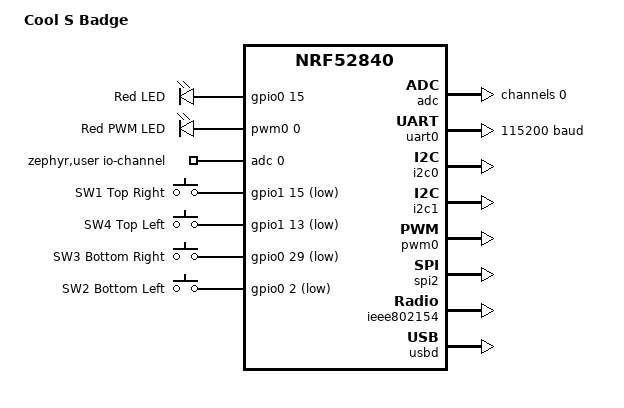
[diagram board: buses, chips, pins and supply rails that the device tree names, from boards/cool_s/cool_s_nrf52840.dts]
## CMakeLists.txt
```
#
# Copyright (c) 2018 Nordic Semiconductor
#
# SPDX-License-Identifier: LicenseRef-Nordic-5-Clause
#
cmake_minimum_required(VERSION 3.20.0)

# Lua for the LED animation scripts, a git submodule:
# git submodule update --init --recursive
list(APPEND ZEPHYR_EXTRA_MODULES ${CMAKE_CURRENT_SOURCE_DIR}/modules/lua_zephyr)

find_package(Zephyr REQUIRED HINTS $ENV{ZEPHYR_BASE})
project(NONE)


# NORDIC SDK APP START
target_sources(app PRIVATE
  src/main.c
  src/lodepng.c
  src/gifdec.c
  src/media_mgmt.c
  src/media_files.c
  src/preview.c
  src/update_approval.c
  src/update_trial.c
  src/lua_anim.c
  src/badge_settings.c
  src/battery.c
  src/nus_console.c
)

# Only decoding is needed, media_files.c writes its PNGs itself and has a
# smaller CRC. Leaves out about 20 KB of the nearly full application slot.
target_compile_definitions(app PRIVATE
  LODEPNG_NO_COMPILE_ENCODER
  LODEPNG_NO_COMPILE_DISK
  LODEPNG_NO_COMPILE_ANCILLARY_CHUNKS
  LODEPNG_NO_COMPILE_CPP
  LODEPNG_NO_COMPILE_CRC
)

# Recursion in C the Lua parser and VM may use, sized for the stack in lua_anim.c
zephyr_compile_definitions(LUAI_MAXCCALLS=32)

# update_approval.c decides whether another image may be scheduled to boot
zephyr_ld_options(-Wl,--wrap=boot_set_next)
target_link_libraries(app PRIVATE MCUBOOT_BOOTUTIL)

# NORDIC SDK APP END
```

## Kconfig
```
#
# Copyright (c) 2018 Nordic Semiconductor
#
# SPDX-License-Identifier: LicenseRef-Nordic-5-Clause
#

source "Kconfig.zephyr"

config BATTERY_LOG
	bool "Log every battery reading to /lfs1/battery.log"
	help
	  For profiling the battery's discharge curve, see src/battery.c.
	  Not for release builds: it writes to flash every reading.

menu "Nordic LED-Button BLE GATT service sample"

config BT_LBS_SECURITY_ENABLED
	bool "Enable security"
	default y
	select BT_SMP
	select BT_SETTINGS
	select FLASH
	select FLASH_PAGE_LAYOUT
	select FLASH_MAP
	select ZMS if (SOC_FLASH_NRF_RRAM || SOC_FLASH_NRF_MRAM)
	select NVS if !(SOC_FLASH_NRF_RRAM || SOC_FLASH_NRF_MRAM)
	select SETTINGS
	help
	  "Enable BLE security for the LED-Button service"

endmenu
```

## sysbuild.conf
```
# Sticking to UF2 for now
SB_CONFIG_BOOTLOADER_MCUBOOT=y
# We are using internal flash for the secondary image
SB_CONFIG_PM_EXTERNAL_FLASH_MCUBOOT_SECONDARY=n
```

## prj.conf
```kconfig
#
# Copyright (c) 2018 Nordic Semiconductor
#
# SPDX-License-Identifier: LicenseRef-Nordic-5-Clause
#
# CONFIG_FLASH_LOAD_OFFSET=0x0

CONFIG_BT=y
CONFIG_BT_PERIPHERAL=y
# CONFIG_BT_DEVICE_NAME="LED_BLE_COOL"
CONFIG_BT_DEVICE_NAME_DYNAMIC=y

# Enable the LBS service
CONFIG_BT_LBS=n
CONFIG_BT_LBS_POLL_BUTTON=n
CONFIG_DK_LIBRARY=y
CONFIG_LOG=y
CONFIG_LOG_MAX_LEVEL=3
CONFIG_SHELL=n
CONFIG_LOG_PRINTK=y
CONFIG_CBPRINTF_FP_SUPPORT=y
CONFIG_LOG_MODE_MINIMAL=y
CONFIG_LOG_MODE_IMMEDIATE=n
# -Os, where CONFIG_DEBUG=y builds with -Og. Saves about 50 KB of the image slot.
CONFIG_DEBUG=n
CONFIG_SIZE_OPTIMIZATIONS=y


CONFIG_SYSTEM_WORKQUEUE_STACK_SIZE=32768
# Needed so gifs aren't decoded on BT RX thread
CONFIG_BT_RECV_WORKQ_SYS=y
CONFIG_MAIN_STACK_SIZE=8192
CONFIG_HEAP_MEM_POOL_SIZE=32768
CONFIG_LOG_BUFFER_SIZE=28000
CONFIG_INPUT=y
CONFIG_POWEROFF=y
CONFIG_POSIX_API=y
CONFIG_POSIX_DEVICE_IO=y
CONFIG_POSIX_FD_MGMT=y
CONFIG_POSIX_FILE_SYSTEM=y

CONFIG_BT_BUF_ACL_RX_SIZE=531
CONFIG_BT_ATT_PREPARE_COUNT=2
CONFIG_BT_ATT_TX_COUNT=10
# ATT MTU 515: SMP splits responses into MTU - 3 byte notifications, and an attribute value may
# be at most 512 bytes. Android drops longer notifications, Windows accepts them.
CONFIG_BT_L2CAP_TX_MTU=515
# CONFIG_BT_L2CAP_RX_MTU=527

CONFIG_BT_CONN_TX_MAX=10
CONFIG_BT_BUF_EVT_RX_COUNT=11
# CONFIG_BT_BUF_ACL_TX_COUNT=10
CONFIG_BT_BUF_ACL_TX_SIZE=531

CONFIG_BT_CTLR_DATA_LENGTH_MAX=251
CONFIG_BT_CTLR_PHY_2M=y
CONFIG_BT_CTLR_PHY_CODED=y

CONFIG_BT_LBS_SECURITY_ENABLED=n


CONFIG_LED=y
CONFIG_LED_STRIP=y
# CONFIG_LED_STRIP_LOG_LEVEL_DBG=y
CONFIG_REGULATOR=y
CONFIG_SPI=y

CONFIG_USB_DEVICE_STACK=y
CONFIG_USB_DEVICE_PRODUCT="Cool-S"
CONFIG_SHELL_BACKEND_SERIAL_CHECK_DTR=y
CONFIG_USB_CDC_ACM_LOG_LEVEL_OFF=y
CONFIG_UART_LINE_CTRL=y
CONFIG_BOARD_SERIAL_BACKEND_CDC_ACM=y
CONFIG_USB_DEVICE_INITIALIZE_AT_BOOT=y

# POSIX_TIMERS requires an embedded C library while the native USB driver is incompatible with it.
# So let's disable it. Once USB_NATIVE_POSIX supports embedded C libraries this can be removed.
CONFIG_POSIX_API=n
CONFIG_POSIX_TIMERS=n
# DATE_SHELL requires POSIX_TIMERS
CONFIG_DATE_SHELL=n

CONFIG_RESET_ON_FATAL_ERROR=y

# Enable MPU
CONFIG_ARM_MPU=y

# Enable GPIO
CONFIG_GPIO=y

# # Enable UART driver
# CONFIG_SERIAL=y

# # Enable console
# CONFIG_CONSOLE=y
# CONFIG_UART_CONSOLE=y



# Enable MCUmgr and dependencies.
CONFIG_NET_BUF=y
CONFIG_ZCBOR=y
CONFIG_CRC=y
CONFIG_MCUMGR=y
CONFIG_STREAM_FLASH=y
CONFIG_FLASH_MAP=y

# # Some command handlers require a large stack.
# CONFIG_SYSTEM_WORKQUEUE_STACK_SIZE=2304
# CONFIG_MAIN_STACK_SIZE=2176

# Ensure an MCUboot-compatible binary is generated.
CONFIG_BOOTLOADER_MCUBOOT=y

# Enable flash operations.
CONFIG_FLASH=y

# Required by the `taskstat` command.
CONFIG_THREAD_MONITOR=y

# Support for taskstat command
CONFIG_MCUMGR_GRP_OS_TASKSTAT=y

# Enable statistics and statistic names.
CONFIG_STATS=y
CONFIG_STATS_NAMES=y

# Enable most core commands.
CONFIG_FLASH=y
CONFIG_IMG_MANAGER=y
CONFIG_MCUMGR_GRP_IMG=y
CONFIG_MCUMGR_GRP_OS=y
CONFIG_MCUMGR_GRP_STAT=y

# Enable logging
CONFIG_LOG=y
CONFIG_MCUBOOT_UTIL_LOG_LEVEL_WRN=y

# Erase page by page during an upload, instead of 11 seconds at its start.
CONFIG_IMG_ERASE_PROGRESSIVELY=y

# Button approval of firmware uploads (src/update_approval.c)
CONFIG_MCUMGR_MGMT_NOTIFICATION_HOOKS=y
# main.c logs the requests that arrive
CONFIG_MCUMGR_SMP_COMMAND_STATUS_HOOKS=y
CONFIG_MCUMGR_GRP_IMG_UPLOAD_CHECK_HOOK=y
CONFIG_MCUMGR_GRP_IMG_STATUS_HOOKS=y
CONFIG_FLASH_AREA_CHECK_INTEGRITY=y



# Enable the LittleFS file system.
CONFIG_FLASH_MAP=y
CONFIG_FILE_SYSTEM=y
CONFIG_FILE_SYSTEM_LITTLEFS=y

# Add 256 bytes to accommodate upload command (lfs_stat overflows)
# CONFIG_SYSTEM_WORKQUEUE_STACK_SIZE=2304

# Enable file system commands
CONFIG_MCUMGR_GRP_FS=y

# # Enable USB subsystem
# CONFIG_SERIAL=y
# CONFIG_UART_LINE_CTRL=y
# CONFIG_CONSOLE=y
# CONFIG_USB_DEVICE_STACK_NEXT=y
# CONFIG_CDC_ACM_SERIAL_INITIALIZE_AT_BOOT=y
# # USB backend is serial device
# CONFIG_MCUMGR_TRANSPORT_UART=y
# CONFIG_BASE64=y
# CONFIG_CRC=y


CONFIG_BT=y
CONFIG_BT_PERIPHERAL=y

# Enable the Bluetooth mcumgr transport (unauthenticated).
CONFIG_MCUMGR_TRANSPORT_BT=y
CONFIG_MCUMGR_TRANSPORT_BT_CONN_PARAM_CONTROL=y
# Changing connection parameters while flash is being erased drops the link.
CONFIG_MCUMGR_TRANSPORT_BT_CONN_PARAM_CONTROL_RESTORE_TIME=20000

# Enable the Shell mcumgr transport.
CONFIG_BASE64=y
CONFIG_CRC=y
CONFIG_SHELL=y
CONFIG_SHELL_BACKEND_SERIAL=y
CONFIG_MCUMGR_TRANSPORT_SHELL=y

# Enable the mcumgr Packet Reassembly feature over Bluetooth and its configuration dependencies.
# MCUmgr buffer size is optimized to fit one SMP packet divided into five Bluetooth Write Commands,
# transmitted with the maximum possible MTU value: 498 bytes.
CONFIG_MCUMGR_TRANSPORT_BT_REASSEMBLY=y
CONFIG_MCUMGR_TRANSPORT_NETBUF_SIZE=2475
CONFIG_MCUMGR_GRP_OS_MCUMGR_PARAMS=y
# SMP file download keeps a 2.4 KB buffer on this stack, with littlefs on top of it.
CONFIG_MCUMGR_TRANSPORT_WORKQUEUE_STACK_SIZE=6144

# Enable the LittleFS file system.
CONFIG_FILE_SYSTEM=y
CONFIG_FILE_SYSTEM_LITTLEFS=y
CONFIG_PM_PARTITION_SIZE_LITTLEFS=0x20000
# Files up to this size are kept inline in their folder's metadata instead of a
# 4 KB block each. Not stored on flash, so existing storage mounts unchanged.
CONFIG_FS_LITTLEFS_CACHE_SIZE=512

# Enable file system commands
CONFIG_MCUMGR_GRP_FS=y

# Enable the storage erase command.
CONFIG_MCUMGR_GRP_ZBASIC=y
CONFIG_MCUMGR_GRP_ZBASIC_STORAGE_ERASE=y

# Disable Bluetooth ping support
CONFIG_BT_CTLR_LE_PING=n

# # Disable shell commands that are not needed
# CONFIG_CLOCK_CONTROL_NRF_SHELL=n
# CONFIG_DEVICE_SHELL=n
# CONFIG_DEVMEM_SHELL=n
# CONFIG_FLASH_SHELL=n

# The GIF decoder opens files through the POSIX layer, and stdin/out/err hold 3 of these.
# Switching GIFs opens the next one before closing the one that plays.
CONFIG_ZVFS_OPEN_MAX=6

# Lua LED animation scripts (src/lua_anim.c), from modules/lua_zephyr.
CONFIG_LUA=y
CONFIG_LUA_LIB_BASE=y
CONFIG_LUA_LIB_MATH=y
CONFIG_LUA_LIB_TABLE=y
# lua_zephyr asks for newlib, picolibc is what the rest of the firmware is sized for
CONFIG_PICOLIBC=y
# A script that recurses too deeply faults instead of overwriting other memory
CONFIG_HW_STACK_PROTECTION=y

# Room in the application slot for Lua. USB recovery is MCUboot's and does not
# need any of these; the shell itself stays for mcumgr over USB.
CONFIG_ASSERT=n
CONFIG_LED_SHELL=n
CONFIG_REGULATOR_SHELL=n
CONFIG_DEVICE_SHELL=n
CONFIG_DEVMEM_SHELL=n
CONFIG_KERNEL_SHELL=n

# Battery voltage, src/battery.c
CONFIG_ADC=y

# Console output over Bluetooth for the web UI, src/nus_console.c
CONFIG_BT_ZEPHYR_NUS=y
CONFIG_RING_BUFFER=y
```

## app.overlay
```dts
/ {
	chosen {
		zephyr,shell-uart = &cdc_acm_uart0;
		// zephyr,shell-uart = &cdc_acm_uart0;
        zephyr,console = &cdc_acm_uart0;
		zephyr,uart-mcumgr = &cdc_acm_uart0;
		zephyr,bt-mon-uart = &uart0;
		zephyr,bt-c2h-uart = &uart0;
	};

};

&zephyr_udc0 {
	cdc_acm_uart0: cdc_acm_uart0 {
		compatible = "zephyr,cdc-acm-uart";
	};
};
```

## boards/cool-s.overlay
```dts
#include <zephyr/dt-bindings/led/led.h>

#include "../nrf52-bindings.h"

/ {
	aliases {
		led-strip = &led_strip;
		// sw0 = &button0;
	};

    led_pwr: regulator-led-pwr {
        compatible = "regulator-fixed";
        regulator-name = "LED Power Enable";
        enable-gpios = <&gpio0 31 GPIO_ACTIVE_HIGH>;
    };

	haptic_en: regulator-haptic-en {
        compatible = "regulator-fixed";
        regulator-name = "Haptic Enable";
        enable-gpios = <&gpio1 11 GPIO_ACTIVE_HIGH>;
    };


	// led_strip: ws2812 {
	// 	compatible = "worldsemi,ws2812-gpio";

	// 	chain-length = <30>; /* arbitrary; change at will */
	// 	color-mapping = <LED_COLOR_ID_GREEN
	// 			 LED_COLOR_ID_RED
	// 			 LED_COLOR_ID_BLUE>;
	// 	/* P0: */
	// 	gpios = <&gpio0 17 0>;
	// };

};

&qspi {
	status = "disabled";
};

 &spi1 { /* MOSI on D11 / P0.23 */
	 compatible = "nordic,nrf-spim";
	 status = "okay";
	 pinctrl-0 = <&spi1_default>;
	 pinctrl-1 = <&spi1_sleep>;
	 pinctrl-names = "default", "sleep";
	 led_strip: ws2812@0 {
		 compatible = "worldsemi,ws2812-spi";
 
		 /* SPI */
		 reg = <0>; /* ignored, but necessary for SPI bindings */
		 spi-max-frequency = <SPI_FREQ>;
 
		 /* WS2812 */
		 chain-length = <30>; /* arbitrary; change at will */
		 color-mapping = <LED_COLOR_ID_GREEN
				  LED_COLOR_ID_RED
				  LED_COLOR_ID_BLUE>;
		 spi-one-frame = <ONE_FRAME>;
		 spi-zero-frame = <ZERO_FRAME>;
	 };
 };
 
	&spi1_default {
		group1 {
			psels = <NRF_PSEL(SPIM_SCK, 0, 20)>,
				<NRF_PSEL(SPIM_MOSI, 0, 17)>;
				// <NRF_PSEL(SPIM_MISO, 0, 22)>;
		};
	};

	&spi1_sleep {
		group1 {
			psels = <NRF_PSEL(SPIM_SCK, 0, 20)>,
				<NRF_PSEL(SPIM_MOSI, 0, 17)>;
				// <NRF_PSEL(SPIM_MISO, 0, 22)>;
			low-power-enable;
		};
	};

&uart0 {
	compatible = "nordic,nrf-uart";
	current-speed = <115200>;
	status = "okay";
	pinctrl-0 = <&uart0_promicro_default>;
	pinctrl-1 = <&uart0_promicro_sleep>;
	pinctrl-names = "default", "sleep";
};

&pinctrl {
	uart0_promicro_default: uart0_promicro_default {
		group1 {
			psels = <NRF_PSEL(UART_TX, 0, 9)>,
				<NRF_PSEL(UART_RX, 0, 10)>;
		};
	};

	uart0_promicro_sleep: uart0_promicro_sleep {
		group1 {
			psels = <NRF_PSEL(UART_TX, 0, 9)>,
				<NRF_PSEL(UART_RX, 0, 10)>;
			low-power-enable;
		};
	};


}; 
```

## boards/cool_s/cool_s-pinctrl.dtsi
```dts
/*
 * Copyright (c) 2024 MASSDRIVER EI (massdriver.space)
 * SPDX-License-Identifier: Apache-2.0
 */

&pinctrl {
	uart0_default: uart0_default {
		group1 {
			psels = <NRF_PSEL(UART_TX, 0, 9)>,
				<NRF_PSEL(UART_RX, 0, 10)>;
		};
	};

	uart0_sleep: uart0_sleep {
		group1 {
			psels = <NRF_PSEL(UART_TX, 0, 9)>,
				<NRF_PSEL(UART_RX, 0, 10)>;
			low-power-enable;
		};
	};

	i2c0_default: i2c0_default {
		group1 {
			psels = <NRF_PSEL(TWIM_SDA, 1, 0)>,
				<NRF_PSEL(TWIM_SCL, 0, 11)>;
		};
	};

	i2c0_sleep: i2c0_sleep {
		group1 {
			psels = <NRF_PSEL(TWIM_SDA, 1, 0)>,
				<NRF_PSEL(TWIM_SCL, 0, 11)>;
			low-power-enable;
		};
	};

	i2c1_default: i2c1_default {
		group1 {
			psels = <NRF_PSEL(TWIM_SDA, 1, 4)>,
				<NRF_PSEL(TWIM_SCL, 1, 6)>;
		};
	};

	i2c1_sleep: i2c1_sleep {
		group1 {
			psels = <NRF_PSEL(TWIM_SDA, 1, 4)>,
				<NRF_PSEL(TWIM_SCL, 1, 6)>;
			low-power-enable;
		};
	};

	
	spi1_default: spi1_default {
		group1 {
			psels = <NRF_PSEL(SPIM_SCK, 0, 20)>,
				<NRF_PSEL(SPIM_MOSI, 0, 17)>;
				// <NRF_PSEL(SPIM_MISO, 0, 22)>;
		};
	};

	spi1_sleep: spi1_sleep {
		group1 {
			psels = <NRF_PSEL(SPIM_SCK, 0, 20)>,
				<NRF_PSEL(SPIM_MOSI, 0, 17)>;
				// <NRF_PSEL(SPIM_MISO, 0, 22)>;
			low-power-enable;
		};
	};

	spi2_default: spi2_default {
		group1 {
			psels = <NRF_PSEL(SPIM_SCK, 1, 1)>,
				<NRF_PSEL(SPIM_MOSI, 1, 2)>,
				<NRF_PSEL(SPIM_MISO, 1, 7)>;
		};
	};

	spi2_sleep: spi2_sleep {
		group1 {
			psels = <NRF_PSEL(SPIM_SCK, 1, 1)>,
				<NRF_PSEL(SPIM_MOSI, 1, 2)>,
				<NRF_PSEL(SPIM_MISO, 1, 7)>;
			low-power-enable;
		};
	};

	pwm0_default: pwm0_default {
		group1 {
			psels = <NRF_PSEL(PWM_OUT0, 0, 15)>;
		};
	};

	pwm0_sleep: pwm0_sleep {
		group1 {
			psels = <NRF_PSEL(PWM_OUT0, 0, 15)>;
			low-power-enable;
		};
	};
};
```

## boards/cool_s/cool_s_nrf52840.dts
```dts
/*
 * Copyright (c) 2024 MASSDRIVER EI (massdriver.space)
 * Copyright (c) 2018-2023 Nordic Semiconductor ASA
 * Copyright (c) 2017 Linaro Limited
 *
 * SPDX-License-Identifier: Apache-2.0
 */

/dts-v1/;
#include <nordic/nrf52840_qiaa.dtsi>
#include "cool_s-pinctrl.dtsi"
#include <zephyr/dt-bindings/input/input-event-codes.h>
#include <zephyr/dt-bindings/adc/adc.h>


/ {
	model = "Cool S Badge";
	compatible = "diodes-delight,cool-s";

	chosen {
		zephyr,sram = &sram0;
		zephyr,flash = &flash0;
		zephyr,code-partition = &slot0_partition;
		zephyr,ieee802154 = &ieee802154;
	};

	leds {
		compatible = "gpio-leds";
		led0: led_0 {
			gpios = <&gpio0 15 GPIO_ACTIVE_HIGH>;
			label = "Red LED";
		};
	};

	pwmleds {
		compatible = "pwm-leds";
		red_pwm_led: led_pwm_0 {
			pwms = <&pwm0 0 PWM_MSEC(20) PWM_POLARITY_INVERTED>;
			label = "Red PWM LED";
		};
	};

	/*
	 * The Pro Micro clones have no divider on the battery. It supplies VDDH,
	 * which the SAADC reads through its internal VDDH/5 input. On USB, VDDH
	 * comes from USB instead, see src/battery.c.
	 */
	zephyr,user {
		io-channels = <&adc 0>;
	};

	aliases {
		led0 = &led0;
		pwm-led0 = &red_pwm_led;
		red-pwm-led = &red_pwm_led;
		bootloader-led0 = &led0;
		mcuboot-led0 = &led0;
		mcuboot-button0 = &button0;
		wakeup = &button3;
		spi = &spi1;
		watchdog0 = &wdt0;
	};
	buttons {
		// label corresponds to schematic name, just for better identification on the board
		compatible = "gpio-keys";
		button0: button0 {
			gpios = <&gpio1 15 (GPIO_PULL_UP | GPIO_ACTIVE_LOW)>;
			label = "SW1 Top Right";
			zephyr,code = <INPUT_KEY_0>;
		};
		button1: button1 {
			gpios = <&gpio1 13 (GPIO_PULL_UP | GPIO_ACTIVE_LOW)>;
			label = "SW4 Top Left";
			zephyr,code = <INPUT_KEY_1>;
		};
		button2: button2 {
			gpios = <&gpio0 29 (GPIO_PULL_UP | GPIO_ACTIVE_LOW)>;
			label = "SW3 Bottom Right";
			zephyr,code = <INPUT_KEY_2>;
		};
		button3: button3 {
			gpios = <&gpio0 2 (GPIO_PULL_UP | GPIO_ACTIVE_LOW)>;
			label = "SW2 Bottom Left";
			zephyr,code = <INPUT_KEY_3>;
		};
	};
};

&adc {
	status = "okay";
	#address-cells = <1>;
	#size-cells = <0>;

	/* VDDH / 5: up to 1.1 V at 5.5 V, inside the 1.2 V range of gain 1/2 */
	vddh_channel: channel@0 {
		reg = <0>;
		zephyr,gain = "ADC_GAIN_1_2";
		zephyr,reference = "ADC_REF_INTERNAL";
		zephyr,acquisition-time = <ADC_ACQ_TIME(ADC_ACQ_TIME_MICROSECONDS, 10)>;
		zephyr,input-positive = <NRF_SAADC_VDDHDIV5>;
		zephyr,resolution = <12>;
		zephyr,oversampling = <4>;
	};
};

&gpiote {
	status = "okay";
};

&uicr {
	nfct-pins-as-gpios;
	gpio-as-nreset;
};

&gpio0 {
	status = "okay";
};

&gpio1 {
	status = "okay";
};

&uart0 {
	compatible = "nordic,nrf-uarte";
	status = "okay";
	current-speed = <115200>;
	pinctrl-0 = <&uart0_default>;
	pinctrl-1 = <&uart0_sleep>;
	pinctrl-names = "default", "sleep";
};

&i2c0 {
	compatible = "nordic,nrf-twi";
	status = "okay";
	pinctrl-0 = <&i2c0_default>;
	pinctrl-1 = <&i2c0_sleep>;
	pinctrl-names = "default", "sleep";
};

&i2c1 {
	compatible = "nordic,nrf-twi";
	status = "okay";
	pinctrl-0 = <&i2c1_default>;
	pinctrl-1 = <&i2c1_sleep>;
	pinctrl-names = "default", "sleep";
};

&pwm0 {
	status = "okay";
	pinctrl-0 = <&pwm0_default>;
	pinctrl-1 = <&pwm0_sleep>;
	pinctrl-names = "default", "sleep";
};


&spi2 {
	compatible = "nordic,nrf-spi";
	status = "okay";
	pinctrl-0 = <&spi2_default>;
	pinctrl-1 = <&spi2_sleep>;
	pinctrl-names = "default", "sleep";
};

&ieee802154 {
	status = "okay";
};

zephyr_udc0: &usbd {
	compatible = "nordic,nrf-usbd";
	status = "okay";
};

#include <../boards/common/usb/cdc_acm_serial.dtsi>


// EDITING THESE DOES NOTHING
// We are using mcuboot (and thus sysbuild) so nRF Connect will force enable partition manager which overrides any partitioning done here
// See https://academy.nordicsemi.com/courses/nrf-connect-sdk-intermediate/lessons/lesson-8-sysbuild/topic/sysbuild-partition-manager/

&flash0 {
	partitions {
		compatible = "fixed-partitions";
		#address-cells = <1>;
		#size-cells = <1>;

		boot_partition: partition@0 {
			label = "mcuboot";
			reg = <0x00000000 DT_SIZE_K(70)>;
		};

		slot0_partition: partition@11800 {
			label = "image-0";
			reg = <0x00011800 DT_SIZE_K(400)>;
		};

		slot1_partition: partition@75800 {
			label = "image-1";
			reg = <0x00075800 DT_SIZE_K(400)>;
		};

		storage_partition: partition@D9800 {
			label = "storage";
			reg = <0x000D9800 DT_SIZE_K(128)>;
		};
	};
};
```

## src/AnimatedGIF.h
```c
// Copyright 2020 BitBank Software, Inc. All Rights Reserved.
// Licensed under the Apache License, Version 2.0 (the "License");
// you may not use this file except in compliance with the License.
// You may obtain a copy of the License at
//    http://www.apache.org/licenses/LICENSE-2.0
// Unless required by applicable law or agreed to in writing, software
// distributed under the License is distributed on an "AS IS" BASIS,
// WITHOUT WARRANTIES OR CONDITIONS OF ANY KIND, either express or implied.
// See the License for the specific language governing permissions and
// limitations under the License.
//===========================================================================

#define __MCUXPRESSO
// #define ARM_MATH_CM4

#ifndef __ANIMATEDGIF__
#define __ANIMATEDGIF__
#if defined(ARDUINO)
#include <Arduino.h>
#else
#include <stdio.h>
#include <stddef.h>
#include <stdint.h>
#include <string.h>
#include <stdlib.h>
#define memcpy_P memcpy
#define PROGMEM
#endif

// Cortex-M4/M7 allow unaligned access to SRAM
#if defined(HAL_ESP32_HAL_H_) || defined(TEENSYDUINO) || defined(ARM_MATH_CM4) || defined(ARM_MATH_CM7)
#define ALLOWS_UNALIGNED
#endif

//
// GIF Animator
// Written by Larry Bank
// Copyright (c) 2020 BitBank Software, Inc.
// bitbank@pobox.com
// 
// Designed to decode images up to 480x320 on MCUs
// using less than 22K of RAM
// ...and decode any sized image when more RAM is available
//
// ** NEW **
// Turbo mode added Feb 18, 2024. This option decodes images
// up to 30x faster if there is enough RAM (48K + full framebuffer)
//

/* GIF Defines and variables */
#define MAX_CHUNK_SIZE 255
//
// These 2 macros can be changed to limit the amount of RAM
// required by the decoder. For example, decoding 1-bit images to
// a 128x32 display will not need a max code size of 12 nor a palette
// with 256 entries
//
#define TURBO_BUFFER_SIZE 0x6100

// If you intend to decode generic GIFs, you want this value to be 12. If you are using GIFs solely for animations in
// your own project, and you control the GIFs you intend to play, then you can save additional RAM here: 
// the decoder must reserve a minimum of 4 byte * (1<<MAX_CODE_SIZE) for the dictionary, but based on implementation
// actually reserves 5 byte * (1<<MAX_CODE_SIZE). Small or low colour GIFs may inherently not require a large
// dictionary. For larger GIFs, the en(!)coder can "voluntarily" choose not to utilize the entire dictionary. I.e.,
// by preparing (specially encoding) the GIFs, you can save >10kB RAM, but you will not be able to decode arbitrary
// images anymore. One application to craft such GIFs can be found here (use option -d) 
// https://create.stephan-brumme.com/flexigif-lossless-gif-lzw-optimization/
#define MAX_CODE_SIZE 12

#define MAX_COLORS 256
#ifdef __LINUX__
#define MAX_WIDTH 2048
#else
#define MAX_WIDTH 64
#endif // __LINUX__
#define LZW_BUF_SIZE (6*MAX_CHUNK_SIZE)
#define LZW_HIGHWATER (4*MAX_CHUNK_SIZE)
// This buffer is used to store the pixel sequence in reverse order
// it needs to be large enough to hold the longest possible
// sequence (1<<MAX_CODE_SIZE)
#define FILE_BUF_SIZE (1<<MAX_CODE_SIZE)

#define PIXEL_FIRST 0
#define PIXEL_LAST (1<<MAX_CODE_SIZE)
#define LINK_UNUSED 5911 // 0x1717 to use memset
#define LINK_END 5912
#define MAX_HASH 5003
// expanded LZW buffer for Turbo mode
#define LZW_BUF_SIZE_TURBO (LZW_BUF_SIZE + (2<<MAX_CODE_SIZE) + (PIXEL_LAST*2) + MAX_WIDTH)
#define LZW_HIGHWATER_TURBO ((LZW_BUF_SIZE_TURBO * 14) / 16)

//
// Pixel types
//
enum {
   GIF_PALETTE_RGB565_LE = 0, // little endian (default)
   GIF_PALETTE_RGB565_BE,     // big endian
   GIF_PALETTE_RGB888,        // original 24-bpp entries
   GIF_PALETTE_RGB8888,       // 32-bit (alpha = 0xff)
   GIF_PALETTE_1BPP,          // 1-bit per pixel (horizontal, MSB on left)
   GIF_PALETTE_1BPP_OLED      // 1-bit per pixel (vertical, LSB on top)
};
// for compatibility with older code
#define LITTLE_ENDIAN_PIXELS GIF_PALETTE_RGB565_LE
#define BIG_ENDIAN_PIXELS GIF_PALETTE_RGB565_BE
//
// Draw types
//
// RAW = 8-bit palettized pixels requiring transparent pixel handling and conversion through the palette.
//       Each line is sent to the GIFDraw callback as 8-bit pixels. If a framebuffer exists, the lines will be
//       written there too. The GIFDraw callback is optional if there is a framebuffer allocated.
//
// COOKED = 16/24/32-bpp fully rendered pixels ready for display. This requires a full frame buffer with extra
//          room for the fully rendered pixels at the end of the 8-bit pixel buffer. For example, a 160x120
//          canvas size with 24-bit output would require (160*120 + 3*160) bytes.
//          Each prepared line is sent to the GIFDraw callback as a row of 16/24/32-bit pixels.
//
enum {
   GIF_DRAW_RAW = 0,
   GIF_DRAW_COOKED
};

enum {
   GIF_SUCCESS = 0,
   GIF_DECODE_ERROR,
   GIF_TOO_WIDE,
   GIF_INVALID_PARAMETER,
   GIF_UNSUPPORTED_FEATURE,
   GIF_FILE_NOT_OPEN,
   GIF_EARLY_EOF,
   GIF_EMPTY_FRAME,
   GIF_BAD_FILE,
   GIF_ERROR_MEMORY
};

typedef struct gif_file_tag
{
  int32_t iPos; // current file position
  int32_t iSize; // file size
  uint8_t *pData; // memory file pointer
  void * fHandle; // class pointer to File/SdFat or whatever you want
} GIFFILE;

typedef struct gif_info_tag
{
  int32_t iFrameCount; // total frames in file
  int32_t iDuration; // duration of animation in milliseconds
  int32_t iMaxDelay; // maximum frame delay
  int32_t iMinDelay; // minimum frame delay
} GIFINFO;

typedef struct gif_draw_tag
{
    int iX, iY; // Corner offset of this frame on the canvas
    int y; // current line being drawn (0 = top line of image)
    int iWidth, iHeight; // size of this frame
    int iCanvasWidth; // need this to know where to place output in a fully cooked bitmap
    void *pUser; // user supplied pointer
    uint8_t *pPixels; // 8-bit source pixels for this line
    uint16_t *pPalette; // little or big-endian RGB565 palette entries (default)
    uint8_t *pPalette24; // RGB888 palette (optional)
    uint8_t ucTransparent; // transparent color
    uint8_t ucHasTransparency; // flag indicating the transparent color is in use
    uint8_t ucDisposalMethod; // frame disposal method
    uint8_t ucBackground; // background color
    uint8_t ucPaletteType; // type of palette entries
    uint8_t ucIsGlobalPalette; // Flag to indicate that a global palette, rather than a local palette is being used
} GIFDRAW;

// Callback function prototypes
typedef int32_t (GIF_READ_CALLBACK)(GIFFILE *pFile, uint8_t *pBuf, int32_t iLen);
typedef int32_t (GIF_SEEK_CALLBACK)(GIFFILE *pFile, int32_t iPosition);
typedef void (GIF_DRAW_CALLBACK)(GIFDRAW *pDraw);
typedef void * (GIF_OPEN_CALLBACK)(const char *szFilename, int32_t *pFileSize);
typedef void (GIF_CLOSE_CALLBACK)(void *pHandle);
typedef void * (GIF_ALLOC_CALLBACK)(uint32_t iSize);
typedef void (GIF_FREE_CALLBACK)(void *buffer);
//
// our private structure to hold a GIF image decode state
//
typedef struct gif_image_tag
{
    uint16_t iWidth, iHeight, iCanvasWidth, iCanvasHeight;
    uint16_t iPrevW, iPrevH, iPrevX, iPrevY; // for disposal method 2 (restore to bg)
    uint16_t iX, iY; // GIF corner offset
    uint16_t iBpp;
    int16_t iError; // last error
    uint16_t iFrameDelay; // delay in milliseconds for this frame
    int16_t iRepeatCount; // NETSCAPE animation repeat count. 0=forever
    uint16_t iXCount, iYCount; // decoding position in image (countdown values)
    int iLZWOff; // current LZW data offset
    int iLZWSize; // current quantity of data in the LZW buffer
    int iCommentPos; // file offset of start of comment data
    short sCommentLen; // length of comment
    unsigned char bEndOfFrame;
    unsigned char ucPrevDisp, ucDisposalMethod;
    unsigned char ucGIFBits, ucBackground, ucTransparent, ucCodeStart, ucMap, bUseLocalPalette;
    unsigned char ucPaletteType; // RGB565 or RGB888
    unsigned char ucDrawType; // RAW or COOKED
    GIF_READ_CALLBACK *pfnRead;
    GIF_SEEK_CALLBACK *pfnSeek;
    GIF_DRAW_CALLBACK *pfnDraw;
    GIF_OPEN_CALLBACK *pfnOpen;
    GIF_CLOSE_CALLBACK *pfnClose;
    GIFFILE GIFFile;
    void *pUser;
    unsigned char *pFrameBuffer;
    unsigned char *pTurboBuffer;
    unsigned char *pPixels, *pOldPixels;
    unsigned char ucFileBuf[FILE_BUF_SIZE]; // holds temp data and pixel stack
    unsigned short pPalette[(MAX_COLORS * 3)/2]; // can hold RGB565 or RGB888 - set in begin()
    unsigned short pLocalPalette[(MAX_COLORS * 3)/2]; // color palettes for GIF images
    unsigned char ucLZW[LZW_BUF_SIZE]; // holds de-chunked LZW data
    // These next 3 are used in Turbo mode to have a larger ucLZW buffer
    unsigned short usGIFTable[1<<MAX_CODE_SIZE];
    unsigned char ucGIFPixels[(PIXEL_LAST*2)];
    unsigned char ucLineBuf[MAX_WIDTH]; // current line
} GIFIMAGE;

#ifdef __cplusplus
//
// The GIF class wraps portable C code which does the actual work
//
class AnimatedGIF
{
  public:
    int open(uint8_t *pData, int iDataSize, GIF_DRAW_CALLBACK *pfnDraw);
    int openFLASH(uint8_t *pData, int iDataSize, GIF_DRAW_CALLBACK *pfnDraw);
#ifdef __LINUX__
    int open(const char *szFilename, GIF_DRAW_CALLBACK *pfnDraw);
#endif
    int open(const char *szFilename, GIF_OPEN_CALLBACK *pfnOpen, GIF_CLOSE_CALLBACK *pfnClose, GIF_READ_CALLBACK *pfnRead, GIF_SEEK_CALLBACK *pfnSeek, GIF_DRAW_CALLBACK *pfnDraw);
    void close();
    void reset();
    void begin(uint8_t ucPaletteType = GIF_PALETTE_RGB565_LE);
    void begin(int iEndian, uint8_t ucPaletteType) { begin(ucPaletteType); };
    int playFrame(bool bSync, int *delayMilliseconds, void *pUser = NULL);
    int getCanvasWidth();
    int getFrameWidth();
    int getFrameHeight();
    int getFrameXOff();
    int getFrameYOff();
    int allocTurboBuf(GIF_ALLOC_CALLBACK *pfnAlloc);
    int allocFrameBuf(GIF_ALLOC_CALLBACK *pfnAlloc);
    void setTurboBuf(void *pTurboBuffer);
    void setFrameBuf(void *pFrameBuffer);
    int setDrawType(int iType);
    int freeFrameBuf(GIF_FREE_CALLBACK *pfnFree);
    int freeTurboBuf(GIF_FREE_CALLBACK *pfnFree);
    uint8_t *getFrameBuf();
    uint8_t *getTurboBuf();
    int getCanvasHeight();
    int getLoopCount();
    int getInfo(GIFINFO *pInfo);
    int getLastError();
    int getComment(char *destBuffer);

  private:
    GIFIMAGE _gif;
};
#else
// C interface
    int GIF_openRAM(GIFIMAGE *pGIF, uint8_t *pData, int iDataSize, GIF_DRAW_CALLBACK *pfnDraw);
    int GIF_openFile(GIFIMAGE *pGIF, const char *szFilename, GIF_DRAW_CALLBACK *pfnDraw);
    void GIF_close(GIFIMAGE *pGIF);
    void GIF_begin(GIFIMAGE *pGIF, unsigned char ucPaletteType);
    void GIF_reset(GIFIMAGE *pGIF);
    int GIF_playFrame(GIFIMAGE *pGIF, int *delayMilliseconds, void *pUser);
    int GIF_getCanvasWidth(GIFIMAGE *pGIF);
    int GIF_getCanvasHeight(GIFIMAGE *pGIF);
    int GIF_getComment(GIFIMAGE *pGIF, char *destBuffer);
    int GIF_getInfo(GIFIMAGE *pGIF, GIFINFO *pInfo);
    int GIF_getLastError(GIFIMAGE *pGIF);
    int GIF_getLoopCount(GIFIMAGE *pGIF);
#endif // __cplusplus

#if (INTPTR_MAX == INT64_MAX)
#define ALLOWS_UNALIGNED
#define INTELSHORT(p) (*(uint16_t *)p)
#define INTELLONG(p) (*(uint64_t *)p)
#define REGISTER_WIDTH 64
#define BIGINT int64_t
#define BIGUINT uint64_t
#else
#define REGISTER_WIDTH 32
#ifdef ALLOWS_UNALIGNED
#define INTELSHORT(p) (*(uint16_t *)p)
#define INTELLONG(p) (*(uint32_t *)p)
#else
// Due to unaligned memory causing an exception, we have to do these macros the slow way
#define INTELSHORT(p) ((*p) + (*(p+1)<<8))
#define INTELLONG(p) ((*p) + (*(p+1)<<8) + (*(p+2)<<16) + (*(p+3)<<24))
#endif // ALLOWS_UNALIGNED
#define BIGINT int32_t
#define BIGUINT uint32_t
#endif // 64 vs 32-bit native register size

#endif // __ANIMATEDGIF__
```

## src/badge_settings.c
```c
/*
 * Settings storage, see badge_settings.h. The file is a CBOR map:
 *
 *   {"brightness": 0..100, "name": tstr, "default_file": tstr}
 *
 * default_file is a path below the root, "" or left out for the first file
 * the badge has. Up to v0.9 the file had "boot" (the mode the badge started
 * in) and "default_png", "default_gif", "default_lua" (each mode's file, ""
 * for default.png and so on in the root). Without default_file, the default
 * of the mode it started in becomes the default file.
 *
 * Keys it does not know are skipped and missing ones keep their default, so
 * older and newer firmware can read each other's file.
 */

#include <errno.h>
#include <string.h>

#include <zephyr/kernel.h>
#include <zephyr/fs/fs.h>
#include <zephyr/logging/log.h>

#include <zcbor_decode.h>
#include <zcbor_encode.h>
#include <mgmt/mcumgr/util/zcbor_bulk.h>

#include "badge_settings.h"
#include "media_files.h"

LOG_MODULE_REGISTER(badge_settings);

#define DEFAULT_BRIGHTNESS 30
#define SAVE_DELAY K_SECONDS(5)
/* all keys and the longest values fit with room to spare */
#define FILE_MAX 320

BUILD_ASSERT(sizeof(MEDIA_ROOT "/") - 1 + BADGE_PATH_MAX < MEDIA_PATH_MAX,
	     "a default file's full path has to fit MEDIA_PATH_MAX");

/* the modes up to v0.9, in their "boot" order */
static const char *const legacy_dirs[] = {"png", "gif", "lua"};

static struct badge_settings settings = {
	.brightness = DEFAULT_BRIGHTNESS,
};
K_MUTEX_DEFINE(settings_lock);

static void save(struct k_work *work);
K_WORK_DELAYABLE_DEFINE(save_work, save);

bool badge_name_valid(const char *name, size_t len)
{
	if (len > BADGE_NAME_MAX || (len && (name[0] == ' ' || name[len - 1] == ' '))) {
		return false;
	}
	for (size_t i = 0; i < len; i++) {
		if (name[i] < 0x20 || name[i] > 0x7e || name[i] == '"' || name[i] == '\\') {
			return false;
		}
	}
	return true;
}

bool badge_path_valid(const char *path, size_t len)
{
	if (len > BADGE_PATH_MAX) {
		return false;
	}
	for (size_t i = 0; i < len; i++) {
		bool part_start = i == 0 || path[i - 1] == '/';
		if ((uint8_t)path[i] < 0x20 || path[i] == 0x7f ||
		    (part_start && (path[i] == '/' || path[i] == '.'))) {
			return false;
		}
	}
	return len == 0 || path[len - 1] != '/';
}

static void copy_string(char *out, size_t size, const char *value, size_t len)
{
	len = MIN(len, size - 1);
	memcpy(out, value, len);
	out[len] = '\0';
}

static void save(struct k_work *work)
{
	uint8_t buf[FILE_MAX];
	struct badge_settings s;

	ARG_UNUSED(work);
	badge_settings_get(&s);

	ZCBOR_STATE_E(zse, 1, buf, sizeof(buf), 1);
	bool ok = zcbor_map_start_encode(zse, 3) &&
		  zcbor_tstr_put_lit(zse, "brightness") && zcbor_uint32_put(zse, s.brightness) &&
		  zcbor_tstr_put_lit(zse, "name") && zcbor_tstr_put_term(zse, s.name, sizeof(s.name)) &&
		  zcbor_tstr_put_lit(zse, "default_file") &&
		  zcbor_tstr_put_term(zse, s.default_file, sizeof(s.default_file)) &&
		  zcbor_map_end_encode(zse, 3);
	if (!ok) {
		LOG_ERR("Could not encode the settings");
		return;
	}

	int rc = file_write_replace(SETTINGS_PATH, MEDIA_ROOT "/.settings.tmp", buf, zse->payload - buf);
	if (rc) {
		LOG_ERR("Could not save the settings: %d", rc);
	} else {
		LOG_INF("Settings saved");
	}
}

static void changed(void)
{
	k_work_reschedule(&save_work, SAVE_DELAY);
}

static ssize_t read_file(const char *path, void *buf, size_t len)
{
	struct fs_file_t file;

	fs_file_t_init(&file);
	int rc = fs_open(&file, path, FS_O_READ);
	if (rc < 0) {
		return rc;
	}
	ssize_t got = fs_read(&file, buf, len);
	fs_close(&file);
	return got;
}

static int load_cbor(void)
{
	uint8_t buf[FILE_MAX];
	ssize_t len = read_file(SETTINGS_PATH, buf, sizeof(buf));
	uint32_t brightness = settings.brightness;
	struct zcbor_string name = { 0 };
	struct zcbor_string file = { 0 };
	struct zcbor_string boot = { 0 };
	struct zcbor_string legacy[ARRAY_SIZE(legacy_dirs)] = { 0 };
	size_t decoded;

	if (len < 0) {
		return len;
	}

	ZCBOR_STATE_D(zsd, 2, buf, len, 1, 0);
	struct zcbor_map_decode_key_val fields[] = {
		ZCBOR_MAP_DECODE_KEY_DECODER("brightness", zcbor_uint32_decode, &brightness),
		ZCBOR_MAP_DECODE_KEY_DECODER("name", zcbor_tstr_decode, &name),
		ZCBOR_MAP_DECODE_KEY_DECODER("default_file", zcbor_tstr_decode, &file),
		ZCBOR_MAP_DECODE_KEY_DECODER("boot", zcbor_tstr_decode, &boot),
		/* in legacy_dirs order */
		ZCBOR_MAP_DECODE_KEY_DECODER("default_png", zcbor_tstr_decode, &legacy[0]),
		ZCBOR_MAP_DECODE_KEY_DECODER("default_gif", zcbor_tstr_decode, &legacy[1]),
		ZCBOR_MAP_DECODE_KEY_DECODER("default_lua", zcbor_tstr_decode, &legacy[2]),
	};
	if (zcbor_map_decode_bulk(zsd, fields, ARRAY_SIZE(fields), &decoded)) {
		return -EINVAL;
	}

	/* a value that is out of range keeps its default */
	if (brightness <= 100) {
		settings.brightness = brightness;
	}
	if (name.value && badge_name_valid(name.value, name.len)) {
		copy_string(settings.name, sizeof(settings.name), name.value, name.len);
	}
	if (!file.value) {
		/* written by v0.9 or older: what it started with, unless that was a root file */
		for (size_t i = 0; i < ARRAY_SIZE(legacy_dirs); i++) {
			if (boot.len == strlen(legacy_dirs[i]) &&
			    memcmp(boot.value, legacy_dirs[i], boot.len) == 0) {
				file = legacy[i];
			}
		}
		if (!boot.value) {
			file = legacy[0];
		}
	}
	if (file.value && badge_path_valid(file.value, file.len)) {
		copy_string(settings.default_file, sizeof(settings.default_file), file.value, file.len);
	}
	return 0;
}

void badge_settings_load(void)
{
	if (load_cbor() == 0) {
		LOG_INF("Settings loaded");
	} else {
		LOG_WRN("No settings, using the defaults");
	}
	LOG_INF("Brightness %u%%, name \"%s\", default file \"%s\"", settings.brightness,
		settings.name, settings.default_file);
}

void badge_settings_flush(void)
{
	struct k_work_sync sync;

	k_work_flush_delayable(&save_work, &sync);
}

void badge_settings_get(struct badge_settings *out)
{
	k_mutex_lock(&settings_lock, K_FOREVER);
	*out = settings;
	k_mutex_unlock(&settings_lock);
}

uint8_t badge_settings_brightness(void)
{
	return settings.brightness;
}

int badge_settings_set_brightness(uint32_t percent)
{
	if (percent > 100) {
		return -EINVAL;
	}
	if (settings.brightness != percent) {
		settings.brightness = percent;
		changed();
	}
	display_brightness_changed();
	return 0;
}

int badge_settings_set_name(const char *name, size_t len)
{
	if (!badge_name_valid(name, len)) {
		return -EINVAL;
	}
	k_mutex_lock(&settings_lock, K_FOREVER);
	bool same = strlen(settings.name) == len && memcmp(settings.name, name, len) == 0;
	if (!same) {
		memcpy(settings.name, name, len);
		settings.name[len] = '\0';
	}
	k_mutex_unlock(&settings_lock);
	if (!same) {
		changed();
		bluetooth_name_changed();
	}
	return 0;
}

int badge_settings_set_default(const char *path, size_t len)
{
	if (!badge_path_valid(path, len)) {
		return -EINVAL;
	}
	k_mutex_lock(&settings_lock, K_FOREVER);
	char *current = settings.default_file;
	bool same = strlen(current) == len && memcmp(current, path, len) == 0;
	if (!same) {
		copy_string(current, sizeof(settings.default_file), path, len);
	}
	k_mutex_unlock(&settings_lock);
	if (!same) {
		changed();
	}
	return 0;
}

void badge_settings_default(char *out, size_t len)
{
	k_mutex_lock(&settings_lock, K_FOREVER);
	strncpy(out, settings.default_file, len - 1);
	out[len - 1] = '\0';
	k_mutex_unlock(&settings_lock);
}

void badge_settings_path_moved(const char *from, const char *to)
{
	size_t from_len = strlen(from);
	char *path = settings.default_file;
	bool any = false;

	k_mutex_lock(&settings_lock, K_FOREVER);
	/* the file itself, or one in the folder */
	if (path[0] && !strncmp(path, from, from_len) && (!path[from_len] || path[from_len] == '/')) {
		char moved[BADGE_PATH_MAX + 1];
		int n = to ? snprintf(moved, sizeof(moved), "%s%s", to, &path[from_len]) : 0;
		if (!to || n >= (int)sizeof(moved)) {
			/* gone, or too long a path now: the first file again */
			path[0] = '\0';
		} else {
			strcpy(path, moved);
		}
		any = true;
	}
	k_mutex_unlock(&settings_lock);
	if (any) {
		changed();
	}
}
```

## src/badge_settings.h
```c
/*
 * The badge's settings: brightness, its Bluetooth name and the file it
 * starts with. Kept as CBOR in SETTINGS_PATH, changed by the iPixel
 * brightness packet and over SMP (media_mgmt.c), saved a few seconds
 * after the last change so a slider does not wear out the flash.
 */
#ifndef BADGE_SETTINGS_H
#define BADGE_SETTINGS_H

#include <stdbool.h>
#include <stddef.h>
#include <stdint.h>

#define SETTINGS_PATH "/lfs1/settings.cbor"

/* The iPixel app and the web UI only find badges whose name starts with this. */
#define BADGE_NAME_PREFIX "LED_BLE_"
/* The advertised name has to fit into 31 bytes next to the flags: 31 - 3 - 2 - 8. */
#define BADGE_NAME_MAX 18
/*
 * The default file is a path below the littlefs root, such as "png/cat.png",
 * short enough that MEDIA_ROOT "/" in front of it fits MEDIA_PATH_MAX.
 */
#define BADGE_PATH_MAX 57

struct badge_settings {
	uint8_t brightness; /* percent */
	char name[BADGE_NAME_MAX + 1]; /* after BADGE_NAME_PREFIX, "" for the default */
	/* the file the badge starts with, "" for the first one it has */
	char default_file[BADGE_PATH_MAX + 1];
};

/* At start, once storage is mounted. Falls back to defaults. */
void badge_settings_load(void);

/* Saves a change that is still waiting, before storage is unmounted. */
void badge_settings_flush(void);

/* A consistent copy, safe from any thread. */
void badge_settings_get(struct badge_settings *out);

/* Brightness in percent, for rendering. */
uint8_t badge_settings_brightness(void);

/* Printable ASCII without quotes or backslashes, no spaces at either end; "" for the default. */
bool badge_name_valid(const char *name, size_t len);

/*
 * A path below the root: no empty parts, none starting with "." (those are
 * the badge's temporary files), no control characters, at most
 * BADGE_PATH_MAX long. "" is valid too, for no default file.
 */
bool badge_path_valid(const char *path, size_t len);

/* Safe from any thread. Return -EINVAL for values the badge does not take. */
int badge_settings_set_brightness(uint32_t percent);
int badge_settings_set_name(const char *name, size_t len);
int badge_settings_set_default(const char *path, size_t len);

/* The default file as set, "" for none. */
void badge_settings_default(char *out, size_t len);

/*
 * A file or folder below the root was renamed, to is NULL if it was deleted.
 * A default at or below it follows it, or goes back to "".
 */
void badge_settings_path_moved(const char *from, const char *to);

/* Implemented in main.c, which acts on them. Called on the thread that changed the setting. */
void display_brightness_changed(void);
void bluetooth_name_changed(void);
/* The part after BADGE_NAME_PREFIX the badge uses without a name of its own. */
void bluetooth_default_name(char *out, size_t len);

#endif
```

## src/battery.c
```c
/*
 * Battery estimate, see battery.h. The Pro Micro clones the badge uses have
 * no divider on the battery, so the SAADC reads VDDH / 5 (the devicetree's
 * zephyr,user io-channels), on the system work queue.
 */

#include <errno.h>

#include <zephyr/kernel.h>
#include <zephyr/drivers/adc.h>
#include <zephyr/logging/log.h>
#include <hal/nrf_power.h>

#include "battery.h"

#ifdef CONFIG_BATTERY_LOG
#include <stdio.h>
#include <zephyr/fs/fs.h>
#include "media_files.h"
#endif

LOG_MODULE_REGISTER(battery);

#define BATTERY_INTERVAL K_SECONDS(30)
/* VDDH is read through the SAADC's internal divide by 5 */
#define VDDH_SCALE 5
/*
 * Samples per reading, spread over SAMPLES * SAMPLE_INTERVAL_US so a radio
 * burst or an LED update hits only a few of them. The highest and lowest
 * quarter are left out of the average. Each sample is already 4 conversions
 * averaged by the SAADC itself, see the devicetree.
 */
#define SAMPLES 32
#define SAMPLE_INTERVAL_US 500
#define SAMPLES_TRIMMED (SAMPLES / 4)

static const struct adc_dt_spec vddh = ADC_DT_SPEC_GET_BY_IDX(DT_PATH(zephyr_user), 0);

/*
 * Battery voltage under load for each percent, from a discharge of the badge's
 * cell running rainbow.lua at 30 % brightness (2026-11-24, ~8.0 h, built with
 * CONFIG_BATTERY_LOG). The current is about constant, so percent is the share
 * of that run time left. 0 % is where the badge browned out.
 */
static const uint16_t curve_mv[101] = {
	2790, 2990, 3104, 3188, 3252, 3304, 3345, 3378, 3398, 3411,  /* 0 % */
	3421, 3428, 3434, 3439, 3446, 3452, 3459, 3468, 3475, 3482,  /* 10 % */
	3492, 3498, 3505, 3512, 3518, 3522, 3529, 3534, 3540, 3545,  /* 20 % */
	3552, 3556, 3562, 3566, 3571, 3577, 3582, 3587, 3592, 3596,  /* 30 % */
	3601, 3606, 3612, 3618, 3624, 3628, 3638, 3643, 3650, 3656,  /* 40 % */
	3665, 3671, 3678, 3686, 3695, 3703, 3711, 3721, 3729, 3737,  /* 50 % */
	3746, 3756, 3763, 3771, 3778, 3788, 3794, 3803, 3812, 3822,  /* 60 % */
	3830, 3837, 3848, 3855, 3862, 3871, 3878, 3887, 3896, 3903,  /* 70 % */
	3911, 3918, 3926, 3933, 3942, 3950, 3957, 3964, 3969, 3976,  /* 80 % */
	3983, 3989, 3994, 4001, 4007, 4015, 4024, 4035, 4045, 4059,  /* 90 % */
	4075,                                                    /* 100 % */
};

static struct battery_state state;
static struct k_spinlock lock;
static bool calibrated;

static void measure(struct k_work *work);
static K_WORK_DELAYABLE_DEFINE(measure_work, measure);

/* the highest percent whose voltage mv has reached */
static uint8_t percent_from_mv(uint16_t mv)
{
	uint8_t percent = 0;

	while (percent < 100 && mv >= curve_mv[percent + 1]) {
		percent++;
	}
	return percent;
}

static int read_mv(int32_t *mv)
{
	/* on the stack: the work queue and the battery button may both read at once */
	int16_t raw[SAMPLES];
	struct adc_sequence_options options = {
		.interval_us = SAMPLE_INTERVAL_US,
		.extra_samplings = SAMPLES - 1,
	};
	struct adc_sequence sequence = {
		.buffer = raw,
		.buffer_size = sizeof(raw[0]),
		/* the SAADC's offset drifts with temperature; once per start is enough here */
		.calibrate = true,
	};
	int rc;

	adc_sequence_init_dt(&vddh, &sequence);
	/*
	 * Calibration on its own: it takes longer than SAMPLE_INTERVAL_US, and a
	 * sample that overruns the interval fails a timed sequence.
	 */
	if (!calibrated) {
		rc = adc_read_dt(&vddh, &sequence);
		if (rc) {
			return rc;
		}
		calibrated = true;
	}

	sequence.calibrate = false;
	sequence.options = &options;
	sequence.buffer_size = sizeof(raw);
	rc = adc_read_dt(&vddh, &sequence);
	/* -EBUSY: a sample started late, a radio interrupt say. They were all taken. */
	if (rc && rc != -EBUSY) {
		return rc;
	}

	/* insertion sort: 32 values, and they are nearly in order already */
	for (int i = 1; i < SAMPLES; i++) {
		int16_t value = raw[i];
		int j = i;
		for (; j > 0 && raw[j - 1] > value; j--) {
			raw[j] = raw[j - 1];
		}
		raw[j] = value;
	}
	int32_t sum = 0;
	for (int i = SAMPLES_TRIMMED; i < SAMPLES - SAMPLES_TRIMMED; i++) {
		sum += raw[i];
	}
	*mv = sum / (SAMPLES - 2 * SAMPLES_TRIMMED);

	rc = adc_raw_to_millivolts_dt(&vddh, mv);
	*mv *= VDDH_SCALE;
	return rc;
}

#ifdef CONFIG_BATTERY_LOG
/*
 * For profiling the battery: every reading off USB, as "seconds since boot,
 * mV, unloaded" lines after a "# boot" line, appended to BATTERY_LOG_PATH.
 * Each one is written through, so the log ends at the last reading before the
 * battery gave out.
 */
#define BATTERY_LOG_PATH MEDIA_ROOT "/battery.log"

static void log_reading(int32_t mv, bool unloaded)
{
	static bool started;
	struct fs_file_t file;
	char line[40];
	int len = 0;

	fs_file_t_init(&file);
	if (fs_open(&file, BATTERY_LOG_PATH, FS_O_CREATE | FS_O_APPEND | FS_O_WRITE) < 0) {
		return;
	}
	if (!started) {
		len = snprintf(line, sizeof(line), "# boot\n");
		started = true;
	}
	len += snprintf(&line[len], sizeof(line) - len, "%u,%d,%d\n",
			(uint32_t)(k_uptime_get() / 1000), mv, unloaded);
	fs_write(&file, line, len);
	fs_close(&file);
}
#endif

void battery_update(bool unloaded)
{
	bool usb = nrf_power_usbregstatus_vbusdet_get(NRF_POWER);
	int32_t mv = 0;
	int rc = usb ? 0 : read_mv(&mv);

#ifdef CONFIG_BATTERY_LOG
	if (!usb && rc == 0) {
		log_reading(mv, unloaded);
	}
#endif

	k_spinlock_key_t key = k_spin_lock(&lock);
	if (usb) {
		/* the battery charges, and reads higher than it is for a while after */
		state.valid = false;
	} else if (rc == 0) {
		/*
		 * An average, so a burst of bright LEDs does not swing it. A reading
		 * without the LEDs is the better one, and replaces it.
		 */
		mv = state.valid && !unloaded ? (3 * state.mv + mv) / 4 : mv;
		state.mv = CLAMP(mv, 0, UINT16_MAX);
		state.percent = percent_from_mv(state.mv);
		state.valid = true;
	}
	state.usb = usb;
	struct battery_state now = state;
	k_spin_unlock(&lock, key);

	if (rc) {
		LOG_ERR("Could not read the battery voltage: %d", rc);
	} else if (usb) {
		LOG_DBG("On USB power");
	} else {
		LOG_DBG("Battery %u mV, %u%%%s", now.mv, now.percent, unloaded ? " without load" : "");
	}
}

static void measure(struct k_work *work)
{
	ARG_UNUSED(work);
	battery_update(false);
	k_work_schedule(&measure_work, BATTERY_INTERVAL);
}

int battery_init(void)
{
	if (!adc_is_ready_dt(&vddh)) {
		LOG_ERR("ADC not ready");
		return -ENODEV;
	}
	int rc = adc_channel_setup_dt(&vddh);
	if (rc) {
		LOG_ERR("Could not set up the ADC channel: %d", rc);
		return rc;
	}
	k_work_schedule(&measure_work, K_NO_WAIT);
	return 0;
}

void battery_get(struct battery_state *out)
{
	k_spinlock_key_t key = k_spin_lock(&lock);
	*out = state;
	k_spin_unlock(&lock, key);
}
```

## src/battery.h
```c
/*
 * Battery state of charge, estimated from the battery voltage with a lookup
 * table for a single LiPo cell.
 *
 * The voltage is VDDH, which the battery supplies. On USB, VDDH comes from
 * USB and the battery is charging, so there is no reading then.
 */
#ifndef BATTERY_H
#define BATTERY_H

#include <stdbool.h>
#include <stdint.h>

struct battery_state {
	bool usb;        /* on USB power: mv and percent say nothing about the battery */
	bool valid;      /* a reading was taken since the badge left USB power */
	uint16_t mv;     /* averaged battery voltage */
	uint8_t percent; /* 0..100 */
};

/* Takes the first reading and then one every BATTERY_INTERVAL. */
int battery_init(void);

/*
 * Takes a reading now, for a caller that needs an up to date one. unloaded
 * says the LEDs are off: the reading then replaces the average instead of
 * going into it. Safe from any thread; takes about 10 ms.
 */
void battery_update(bool unloaded);

/* The latest estimate, safe from any thread. */
void battery_get(struct battery_state *out);

#endif
```

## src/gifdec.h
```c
#ifndef GIFDEC_H
#define GIFDEC_H

#include <stdint.h>
#include <sys/types.h>

/* Largest canvas accepted, the size of the display the badge poses as. */
#define GD_MAX_PIXELS (32 * 16)

#ifdef __cplusplus
extern "C" {
#endif

typedef struct gd_Palette {
    int size;
    uint8_t colors[0x100 * 3];
} gd_Palette;

typedef struct gd_GCE {
    uint16_t delay;
    uint8_t tindex;
    uint8_t disposal;
    int input;
    int transparency;
} gd_GCE;

typedef struct gd_GIF {
    int fd;                 /* -1 when reading from memory */
    const uint8_t *mem;
    size_t mem_len;
    off_t mem_pos;
    off_t anim_start;
    uint16_t width, height;
    uint16_t depth;
    uint16_t loop_count;
    gd_GCE gce;
    gd_Palette *palette;
    gd_Palette lct, gct;
    void (*plain_text)(
        struct gd_GIF *gif, uint16_t tx, uint16_t ty,
        uint16_t tw, uint16_t th, uint8_t cw, uint8_t ch,
        uint8_t fg, uint8_t bg
    );
    void (*comment)(struct gd_GIF *gif);
    void (*application)(struct gd_GIF *gif, char id[8], char auth[3]);
    uint16_t fx, fy, fw, fh;
    uint8_t bgindex;
    uint8_t *canvas, *frame;
} gd_GIF;

gd_GIF *gd_open_gif(const char *fname);
gd_GIF *gd_open_gif_memory(const uint8_t *data, size_t len);
int gd_get_frame(gd_GIF *gif);
void gd_render_frame(gd_GIF *gif, uint8_t *buffer);
int gd_is_bgcolor(gd_GIF *gif, uint8_t color[3]);
void gd_rewind(gd_GIF *gif);
void gd_close_gif(gd_GIF *gif);

#ifdef __cplusplus
}
#endif

#endif /* GIFDEC_H */
```
